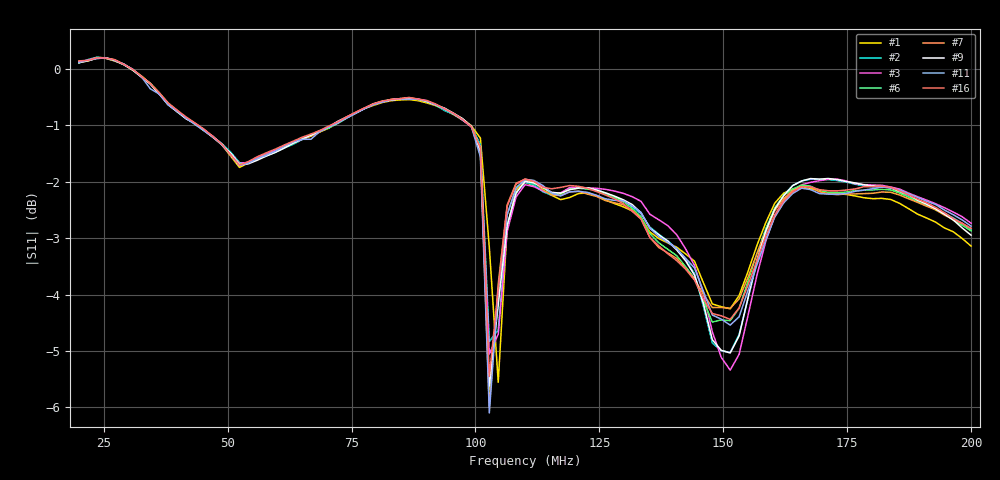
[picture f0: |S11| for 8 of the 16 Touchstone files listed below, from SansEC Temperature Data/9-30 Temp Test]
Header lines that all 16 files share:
# HZ S RI R 50
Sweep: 20 MHz to 200 MHz
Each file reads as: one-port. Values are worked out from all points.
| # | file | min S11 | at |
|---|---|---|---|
| 1 | 37.2C.s1p | -5.6 dB | 104.6 MHz |
| 2 | 42.0C.s1p | -5.0 dB | 151.4 MHz |
| 3 | 42.2C.s1p | -5.3 dB | 151.4 MHz |
| 4 | 44.4C.s1p | -6.2 dB | 102.8 MHz |
| 5 | 45.4C.s1p | -6.2 dB | 102.8 MHz |
| 6 | 50.0C.s1p | -5.7 dB | 102.8 MHz |
| 7 | 51.0C.s1p | -6.0 dB | 102.8 MHz |
| 8 | 51.9C.s1p | -5.8 dB | 102.8 MHz |
| 9 | 52.2C.s1p | -5.6 dB | 102.8 MHz |
| 10 | 53.1C.s1p | -6.2 dB | 102.8 MHz |
| 11 | 59.4C.s1p | -6.1 dB | 102.8 MHz |
| 12 | 60.2C.s1p | -6.0 dB | 102.8 MHz |
| 13 | 61.8C.s1p | -5.8 dB | 102.8 MHz |
| 14 | 65.0C.s1p | -5.7 dB | 102.8 MHz |
| 15 | 66.15C.s1p | -5.5 dB | 151.4 MHz |
| 16 | 67.8C.s1p | -5.5 dB | 102.8 MHz |
